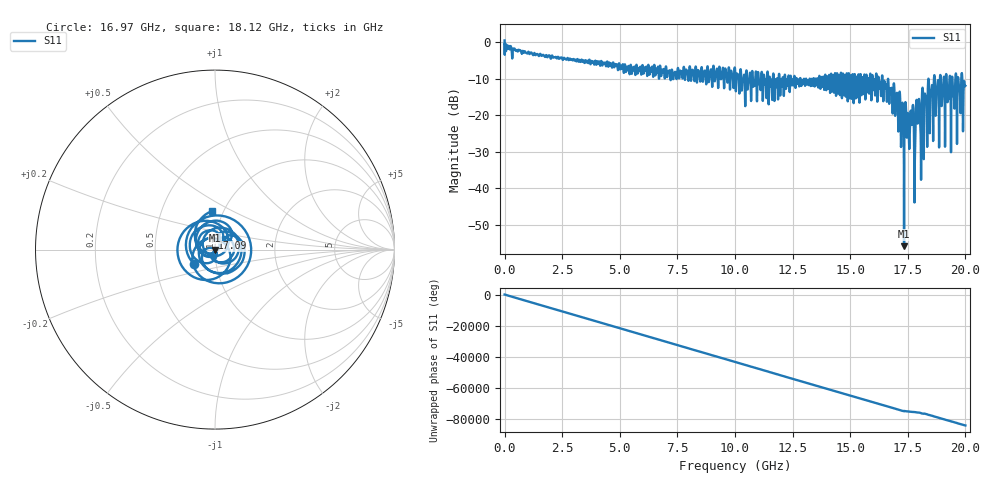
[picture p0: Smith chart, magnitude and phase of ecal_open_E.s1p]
! MS46122B
! 2250307/22442219
! 7/26/2025 10:19:28 AM
! C:\USERS\SPARKY\DOCUMENTS\VNA_DATA\JULY26_2025\295K\ECAL_OPEN_E.S1P
! CHANNEL.1
! TR.MEASUREMENT
! RAW.DATA
# GHZ S RI R 50.0
! FREQ.GHZ  S11RE  S11IM
!; PortSelection: Port_1
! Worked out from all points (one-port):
!   10001 points, 1 MHz to 20 GHz, reference 50 ohm
!   lowest |S11| = -55.8 dB at 17.34 GHz (marker M1), VSWR 1.00, Z = 50.1 - j0.131 ohm
!   |S11| at or under -10 dB: 12.84 GHz to 13.41 GHz (564.2 MHz wide, 4.3 % of centre); 16.4 GHz to 18.64 GHz (2.233 GHz wide, 12.7 % of centre); 18.67 GHz to 18.89 GHz (224.8 MHz wide, 1.2 % of centre) (the widest 3 of 86)
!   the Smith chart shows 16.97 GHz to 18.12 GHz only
!   S11 on the Smith chart (normalised r, x): 16.97 GHz: 0.78, -0.13; 17.09 GHz: 0.96, +0.12; 18.12 GHz: 0.88, +0.39
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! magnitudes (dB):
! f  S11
! 1 MHz  0.4
! 2.501 GHz  -4.5
! 5.001 GHz  -7.0
! 7.501 GHz  -8.0
! 10 GHz  -7.3
! 12.5 GHz  -10.3
! 15 GHz  -11.3
! 16.31 GHz  -11.1
! 16.97 GHz  -17.0
! 17.09 GHz  -23.7
! 17.22 GHz  -25.3
! 17.27 GHz  -16.6
! 17.34 GHz  -55.8
! 17.5 GHz  -19.4
! 17.67 GHz  -22.7
! 17.74 GHz  -17.9
! 17.85 GHz  -18.2
! 17.94 GHz  -21.6
! 18 GHz  -16.4
! 18.12 GHz  -13.4
! 18.2 GHz  -22.2
! 18.27 GHz  -15.0
! 18.32 GHz  -18.5
! 18.73 GHz  -15.8
! 18.78 GHz  -12.4
! 18.99 GHz  -15.4
! 19.45 GHz  -12.3
! 20 GHz  -12.0
